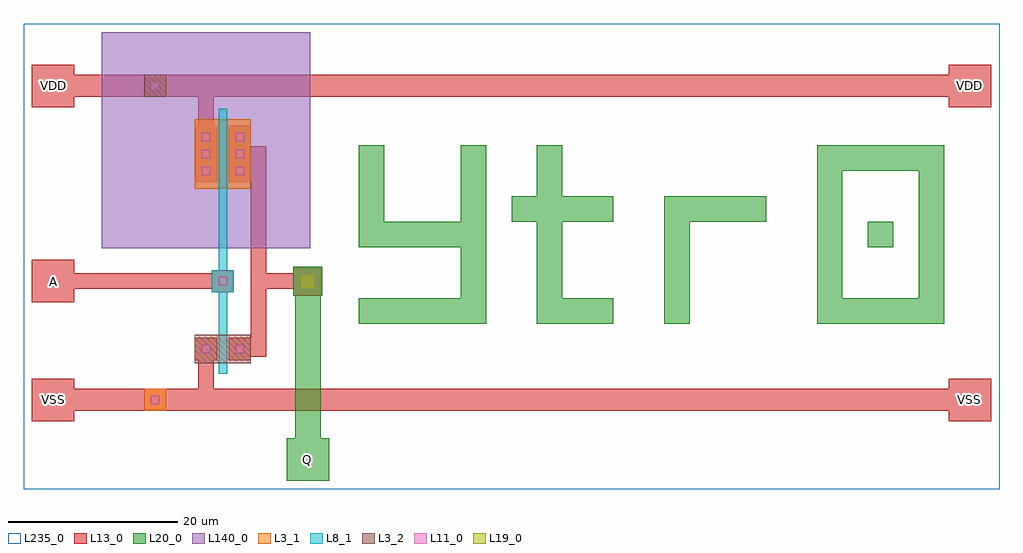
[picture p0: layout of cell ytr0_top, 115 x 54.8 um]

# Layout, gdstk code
import gdstk
lib = gdstk.Library(unit=1e-6, precision=1e-09)
def R(c, l, rs):  # rectangles x0, y0, x1, y1
    for r in rs: c.add(gdstk.rectangle(r[:2], r[2:], *l))
def A(c, l, x, y, w, h, nx, ny, dx, dy):  # array of equal rectangles
    R(c, l, [(x+i*dx, y+j*dy, x+i*dx+w, y+j*dy+h) for i in range(nx) for j in range(ny)])
def P(c, l, *ps):  # polygons
    for p in ps: c.add(gdstk.Polygon(p, *l))
L3_1 = (3, 1)
L3_2 = (3, 2)
L8_1 = (8, 1)
L11_0 = (11, 0)
L13_0 = (13, 0)
L19_0 = (19, 0)
L20_0 = (20, 0)
L140_0 = (140, 0)
L235_0 = (235, 0)

fet_p = lib.new_cell('fet_p')
R(fet_p, L3_1, [(-3.3,-4.1,3.3,4.1)])
A(fet_p, L11_0, -2.5, -2.5, 1, 1, 1, 3, 0, 2)
A(fet_p, L11_0, 1.5, -2.5, 1, 1, 1, 3, 0, 2)
R(fet_p, L13_0, [(-3.3,-3.3,-0.7,3.3), (0.7,-3.3,3.3,3.3)])
fet_p.add(gdstk.FlexPath([(0,-5.3),(0,5.3)], 1, ends="flush", simple_path=True, layer=8, datatype=1))  # L8_1

fet_n = lib.new_cell('fet_n')
R(fet_n, L3_2, [(-3.3,-1.7,3.3,1.7)])
R(fet_n, L11_0, [(-2.5,-0.5,-1.5,0.5), (1.5,-0.5,2.5,0.5)])
R(fet_n, L13_0, [(-3.3,-1.3,-0.7,1.3), (0.7,-1.3,3.3,1.3)])
fet_n.add(gdstk.FlexPath([(0,-2.9),(0,2.9)], 1, ends="flush", simple_path=True, layer=8, datatype=1))  # L8_1

cont_g = lib.new_cell('cont_g')
R(cont_g, L8_1, [(-1.3,-1.3,1.3,1.3)])
R(cont_g, L11_0, [(-0.5,-0.5,0.5,0.5)])
R(cont_g, L13_0, [(-1.3,-1.3,1.3,1.3)])

cont_n = lib.new_cell('cont_n')
R(cont_n, L3_2, [(-1.3,-1.3,1.3,1.3)])
R(cont_n, L11_0, [(-0.5,-0.5,0.5,0.5)])
R(cont_n, L13_0, [(-1.3,-1.3,1.3,1.3)])

cont_p = lib.new_cell('cont_p')
R(cont_p, L3_1, [(-1.3,-1.3,1.3,1.3)])
R(cont_p, L11_0, [(-0.5,-0.5,0.5,0.5)])
R(cont_p, L13_0, [(-1.3,-1.3,1.3,1.3)])

ytr0_inverter = lib.new_cell('ytr0_inverter')
R(ytr0_inverter, L140_0, [(-14.3,-11.1,10.3,14.3)])
ytr0_inverter.add(gdstk.FlexPath([(0,-15),(-10,-15)], 1.8, ends="flush", simple_path=True, layer=13, datatype=0))  # L13_0
ytr0_inverter.add(gdstk.FlexPath([(2,0),(4.2,0),(4.2,-23),(2,-23)], 1.8, ends="flush", simple_path=True, layer=13, datatype=0))  # L13_0
ytr0_inverter.add(gdstk.FlexPath([(4.2,-15),(10,-15)], 1.8, ends="flush", simple_path=True, layer=13, datatype=0))  # L13_0
ytr0_inverter.add(gdstk.FlexPath([(-2,0),(-2,8)], 1.8, ends="flush", simple_path=True, layer=13, datatype=0))  # L13_0
ytr0_inverter.add(gdstk.FlexPath([(-10,8),(8,8)], 2.6, ends="flush", simple_path=True, layer=13, datatype=0))  # L13_0
ytr0_inverter.add(gdstk.FlexPath([(-2,-23),(-2,-29)], 1.8, ends="flush", simple_path=True, layer=13, datatype=0))  # L13_0
ytr0_inverter.add(gdstk.FlexPath([(-10,-29),(8,-29)], 2.6, ends="flush", simple_path=True, layer=13, datatype=0))  # L13_0
ytr0_inverter.add(gdstk.FlexPath([(0,-5.3),(0,-20.1)], 1, ends="flush", simple_path=True, layer=8, datatype=1))  # L8_1
ytr0_inverter.add(gdstk.Reference(fet_p, (0,0)))
ytr0_inverter.add(gdstk.Reference(fet_n, (0,-23)))
ytr0_inverter.add(gdstk.Reference(cont_g, (0,-15)))
ytr0_inverter.add(gdstk.Reference(cont_n, (-8,8)))
ytr0_inverter.add(gdstk.Reference(cont_p, (-8,-29)))
ytr0_inverter.add(gdstk.Label('A', (-9.5,-15), layer=48, texttype=0))
ytr0_inverter.add(gdstk.Label('Q', (9.5,-15), layer=48, texttype=0))
ytr0_inverter.add(gdstk.Label('VDD', (-9.5,8), layer=48, texttype=0))
ytr0_inverter.add(gdstk.Label('VSS', (-9.5,-29), layer=48, texttype=0))

art_ytr0 = lib.new_cell('art_ytr0')
R(art_ytr0, L20_0, [(60,9,63,12)])
P(art_ytr0, L20_0, [(36,0),(36,15),(48,15),(48,12),(39,12),(39,0)],
  [(0,0),(0,3),(12,3),(12,9),(0,9),(0,21),(3,21),(3,12),(12,12),(12,21),(15,21),(15,0)],
  [(21,0),(21,12),(18,12),(18,15),(21,15),(21,21),(24,21),(24,15),(30,15),(30,12),(24,12),(24,3),(30,3),(30,0)],
  [(54,0),(54,18),(57,18),(57,3),(66,3),(66,18),(54,18),(54,21),(69,21),(69,0)])

ytr0_top = lib.new_cell('ytr0_top')
R(ytr0_top, L13_0, [(-22.5,-31.5,-17.5,-26.5), (85.5,-31.5,90.5,-26.5), (-22.5,-17.5,-17.5,-12.5), (8.3,-16.7,11.7,-13.3), (-22.5,5.5,-17.5,10.5), (85.5,5.5,90.5,10.5)])
R(ytr0_top, L19_0, [(9.3,-15.7,10.7,-14.3)])
R(ytr0_top, L20_0, [(7.5,-38.5,12.5,-33.5), (8.3,-16.7,11.7,-13.3)])
R(ytr0_top, L235_0, [(-23.5,-39.5,91.5,15.3)])
ytr0_top.add(gdstk.FlexPath([(-10,-15),(-20,-15)], 1.8, ends="flush", simple_path=True, layer=13, datatype=0))  # L13_0
ytr0_top.add(gdstk.FlexPath([(-20,8),(88,8)], 2.6, ends="flush", simple_path=True, layer=13, datatype=0))  # L13_0
ytr0_top.add(gdstk.FlexPath([(-20,-29),(88,-29)], 2.6, ends="flush", simple_path=True, layer=13, datatype=0))  # L13_0
ytr0_top.add(gdstk.FlexPath([(10,-15),(10,-36)], 3, ends="flush", simple_path=True, layer=20, datatype=0))  # L20_0
ytr0_top.add(gdstk.Reference(ytr0_inverter, (0,0)))
ytr0_top.add(gdstk.Reference(art_ytr0, (16,-20)))
ytr0_top.add(gdstk.Label('A', (-20,-15), layer=48, texttype=0))
ytr0_top.add(gdstk.Label('VDD', (-20,8), layer=48, texttype=0))
ytr0_top.add(gdstk.Label('VDD', (88,8), layer=48, texttype=0))
ytr0_top.add(gdstk.Label('VSS', (-20,-29), layer=48, texttype=0))
ytr0_top.add(gdstk.Label('VSS', (88,-29), layer=48, texttype=0))
ytr0_top.add(gdstk.Label('Q', (10,-36), layer=49, texttype=0))

lib.write_gds('ytr0_top.gds')
